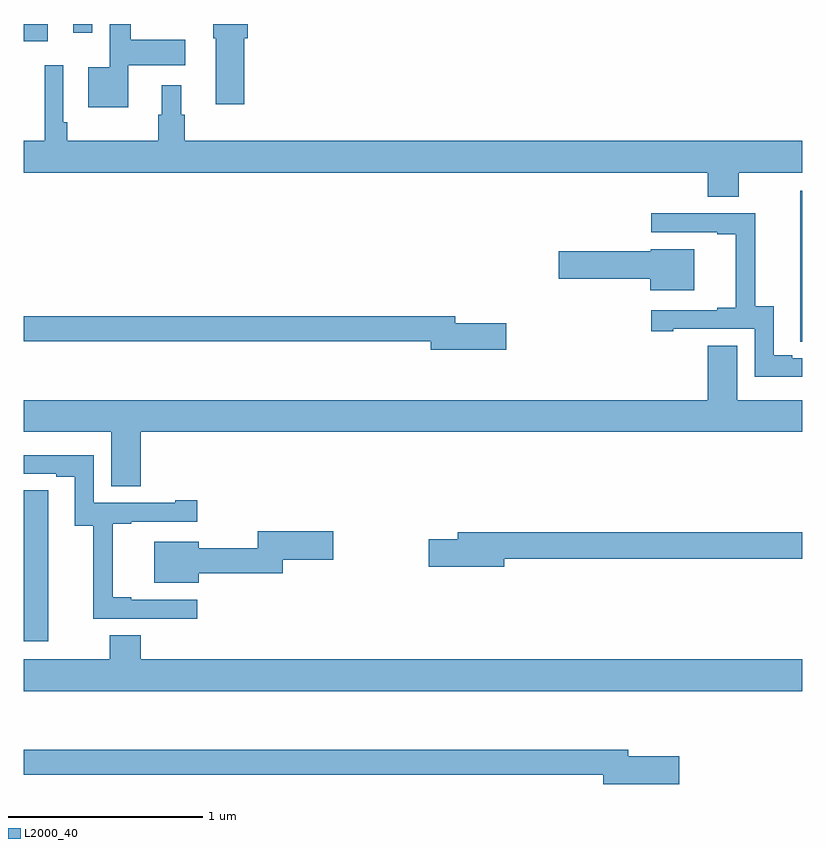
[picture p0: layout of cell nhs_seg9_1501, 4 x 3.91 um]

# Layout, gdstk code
import gdstk
lib = gdstk.Library(unit=1e-6, precision=1e-09)
def R(c, l, rs):  # rectangles x0, y0, x1, y1
    for r in rs: c.add(gdstk.rectangle(r[:2], r[2:], *l))
def P(c, l, *ps):  # polygons
    for p in ps: c.add(gdstk.Polygon(p, *l))
L2000_40 = (2000, 40)

nhs_seg9_1501 = lib.new_cell('nhs_seg9_1501')
R(nhs_seg9_1501, L2000_40, [(195,1214.411,195.124,1214.5), (195.254,1214.454,195.351,1214.5)])
P(nhs_seg9_1501, L2000_40, [(195.538,1214.288),(195.829,1214.288),(195.829,1214.418),(195.55,1214.418),(195.55,1214.5),(195.441,1214.5),(195.441,1214.278),(195.332,1214.278),(195.332,1214.072),(195.538,1214.072)],
  [(196.133,1214.427),(196.151,1214.427),(196.151,1214.5),(195.973,1214.5),(195.973,1214.427),(195.986,1214.427),(195.986,1214.088),(196.133,1214.088)],
  [(198.675,1213.736),(199,1213.736),(199,1213.9),(195.827,1213.9),(195.827,1214.034),(195.808,1214.034),(195.808,1214.185),(195.71,1214.185),(195.71,1214.034),(195.691,1214.034),(195.691,1213.9),(195.224,1213.9),(195.224,1213.996),(195.204,1213.996),(195.204,1214.287),(195.107,1214.287),(195.107,1213.9),(195,1213.9),(195,1213.736),(198.515,1213.736),(198.515,1213.612),(198.675,1213.612)],
  [(199,1213.644),(198.989,1213.644),(198.989,1212.976),(198.99,1212.976),(198.99,1212.868),(199,1212.868)],
  [(199,1212.783),(198.949,1212.783),(198.949,1212.798),(198.853,1212.798),(198.853,1213.049),(198.759,1213.049),(198.759,1213.527),(198.225,1213.527),(198.225,1213.431),(198.563,1213.431),(198.563,1213.419),(198.659,1213.419),(198.659,1213.042),(198.563,1213.042),(198.563,1213.029),(198.225,1213.029),(198.225,1212.921),(198.337,1212.921),(198.337,1212.933),(198.756,1212.933),(198.756,1212.687),(199,1212.687)],
  [(198.445,1213.342),(198.222,1213.342),(198.222,1213.332),(197.748,1213.332),(197.748,1213.19),(198.218,1213.19),(198.218,1213.133),(198.445,1213.133)],
  [(197.479,1212.962),(197.218,1212.962),(197.218,1212.998),(195,1212.998),(195,1212.87),(197.09,1212.87),(197.09,1212.827),(197.479,1212.827)],
  [(195.602,1212.404),(199,1212.404),(199,1212.568),(198.667,1212.568),(198.667,1212.848),(198.515,1212.848),(198.515,1212.568),(195,1212.568),(195,1212.404),(195.449,1212.404),(195.449,1212.124),(195.602,1212.124)],
  [(195.892,1211.541),(195.553,1211.541),(195.553,1211.554),(195.458,1211.554),(195.458,1211.931),(195.553,1211.931),(195.553,1211.943),(195.892,1211.943),(195.892,1212.052),(195.779,1212.052),(195.779,1212.039),(195.36,1212.039),(195.36,1212.285),(195,1212.285),(195,1212.189),(195.167,1212.189),(195.167,1212.174),(195.263,1212.174),(195.263,1211.923),(195.358,1211.923),(195.358,1211.445),(195.892,1211.445)],
  [(195.127,1211.996),(195.126,1211.996),(195.126,1212.104),(195,1212.104),(195,1211.328),(195.127,1211.328)],
  [(195.898,1211.679),(196.33,1211.679),(196.33,1211.747),(196.591,1211.747),(196.591,1211.894),(196.202,1211.894),(196.202,1211.807),(195.898,1211.807),(195.898,1211.839),(195.671,1211.839),(195.671,1211.63),(195.898,1211.63)],
  [(197.47,1211.752),(199,1211.752),(199,1211.888),(197.231,1211.888),(197.231,1211.852),(197.082,1211.852),(197.082,1211.71),(197.47,1211.71)],
  [(199,1211.236),(195.602,1211.236),(195.602,1211.36),(195.442,1211.36),(195.442,1211.236),(195,1211.236),(195,1211.072),(199,1211.072)],
  [(198.367,1210.737),(198.106,1210.737),(198.106,1210.771),(195,1210.771),(195,1210.642),(197.978,1210.642),(197.978,1210.595),(198.367,1210.595)])

lib.write_gds('nhs_seg9_1501.gds')
